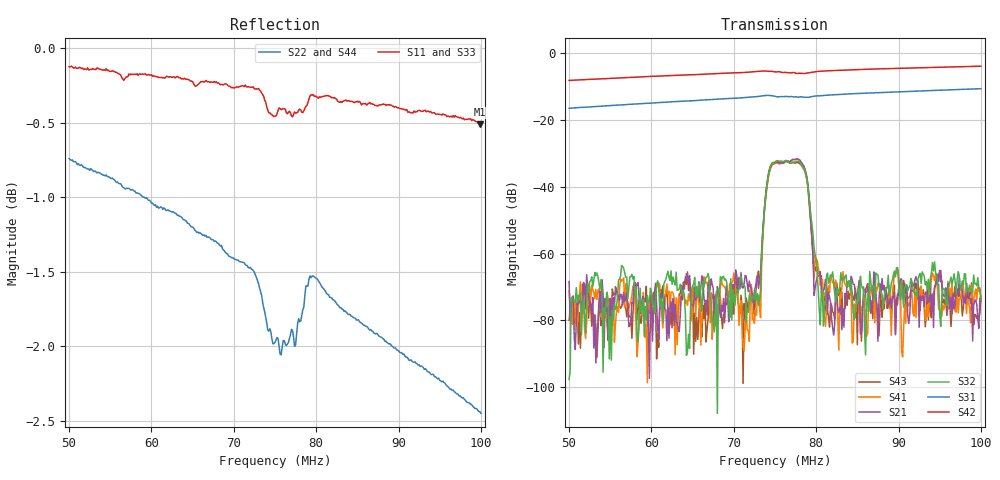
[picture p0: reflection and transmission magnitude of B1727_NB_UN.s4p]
#  HZ  S  RI  R  50.0000
! Rohde & Schwarz ZVA/B
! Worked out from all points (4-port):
!   401 points, 50 MHz to 100 MHz, reference 50 ohm
!   strongest paths, dB at 50 MHz, 62.5 MHz, 75 MHz, 87.5 MHz, 100 MHz:
!     S42: -8.2, -6.7, -5.6, -4.7, -3.9
!     S31: -16.5, -14.6, -12.9, -11.8, -10.6
!     S32: -97.7, -69.2, -32.5, -66.4, -74.0
!     S21: -68.4, -77.6, -32.7, -86.3, -74.3
!     S41: -71.0, -71.4, -33.0, -68.9, -73.1
!     S43: -80.0, -82.2, -32.8, -80.7, -72.7
!   lowest |S11| = -0.5 dB at 99.88 MHz (marker M1), VSWR 34.13, Z = 25.4 - j201 ohm
!   |S11| at or under -10 dB: nowhere
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5e7  0.9553 -0.244  -1.97e-05 -3.56e-05  0.0485 0.1356  9.21e-05 -0.000126
     -0.000362 0.000123  0.8149 -0.4234  0.000129 -0.000256  0.1991 0.3256
     0.0443 0.1432  1e-05 8.42e-06  0.9579 -0.2389  -0.00019 8.18e-05
     0.000233 0.000158  0.1994 0.3361  1.33e-05 9.93e-05  0.8226 -0.4192
7.25e7  0.9053 -0.346  0.000149 0.000144  0.0972 0.1857  -3.59e-05 0.000159
        0.000166 0.000226  0.6592 -0.5219  0.000231 3.37e-05  0.3499 0.3821
        0.0913 0.2024  0.000131 0.000155  0.9088 -0.3383  -0.00014 0.0002
        -3.43e-05 8.34e-05  0.3499 0.3958  2.89e-05 9.83e-05  0.673 -0.5174
7.55e7  0.8908 -0.3444  0.0225 -0.00161  0.1112 0.1802  -0.0226 0.0025
        0.0226 -0.000345  0.6235 -0.492  -0.0243 0.00104  0.381 0.354
        0.1055 0.1962  -0.0241 0.000482  0.8925 -0.335  0.0248 -0.00259
        -0.022 0.000426  0.3818 0.3652  0.0233 -0.000787  0.6339 -0.4917
7.8625e7  0.8906 -0.3437  0.0027 0.0185  0.1075 0.177  -0.00297 -0.0183
          0.00167 0.0186  0.6672 -0.4868  -0.00279 -0.0173  0.339 0.3476
          0.1013 0.1936  -0.00238 -0.0175  0.8971 -0.3391  0.00382 0.0178
          -0.0011 -0.0176  0.3385 0.3604  0.00265 0.0168  0.6792 -0.482
8.1875e7  0.8881 -0.3713  3.47e-05 -3.64e-05  0.1109 0.1947  4.99e-05 0.000427
          -5.11e-05 9e-05  0.6323 -0.5292  0.000186 0.000415  0.3757 0.3851
          0.1047 0.2133  8.59e-05 0.000437  0.8929 -0.3639  8.24e-05 -9.32e-05
          -2.31e-06 0.000414  0.376 0.3984  -0.000105 -0.000131  0.6466 -0.5264
9.9875e7  0.836 -0.4365  -0.000189 0.00014  0.1585 0.2294  9.47e-05 0.000204
          7.67e-06 0.000217  0.5183 -0.549  0.000204 0.000227  0.4938 0.3908
          0.1512 0.2515  0.000223 0.000179  0.8457 -0.4283  -0.000104 0.000186
          0.000148 0.000271  0.4937 0.4039  -0.000122 2.68e-05  0.5349 -0.5478
1e8  0.8367 -0.4366  -9.76e-05 9.76e-05  0.1585 0.2296  3.98e-05 0.000309
     -4.01e-05 0.000189  0.5181 -0.5479  0.000337 0.000167  0.4944 0.3908
     0.1516 0.2519  0.000165 0.000111  0.8458 -0.4279  -0.000155 0.000309
     0.000132 0.000178  0.4944 0.4043  -0.000131 0.00019  0.5345 -0.5479
